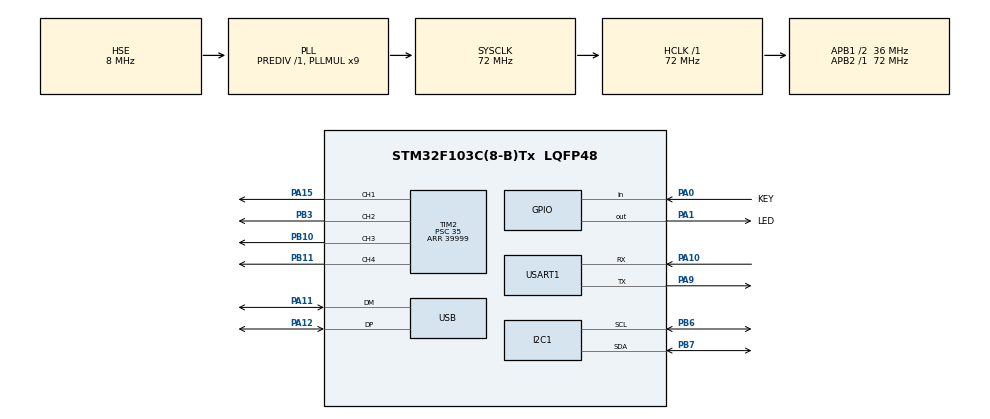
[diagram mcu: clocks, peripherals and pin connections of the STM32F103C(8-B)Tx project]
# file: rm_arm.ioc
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I2C1.I2C_Mode=I2C_Fast
Mcu.Family=STM32F1
Mcu.Name=STM32F103C(8-B)Tx
Mcu.Package=LQFP48
NVIC.PriorityGroup=NVIC_PRIORITYGROUP_4
NVIC.TIM3_IRQn=true\:0\:0\:false\:false\:true\:true\:true\:true
NVIC.USB_LP_CAN1_RX0_IRQn=true\:0\:0\:false\:false\:true\:false\:true\:true
PA0-WKUP.GPIO_Label=KEY
PA0-WKUP.GPIO_PuPd=GPIO_PULLDOWN
PA0-WKUP.Signal=GPIO_Input
PA1.GPIO_Label=LED
PA1.PinState=GPIO_PIN_SET
PA1.Signal=GPIO_Output
PA10.Mode=Asynchronous
PA10.Signal=USART1_RX
PA11.Mode=Device
PA11.Signal=USB_DM
PA12.Mode=Device
PA12.Signal=USB_DP
PA13.Mode=Serial_Wire
PA13.Signal=SYS_JTMS-SWDIO
PA14.Mode=Serial_Wire
PA14.Signal=SYS_JTCK-SWCLK
PA15.Signal=S_TIM2_CH1_ETR
PA9.Mode=Asynchronous
PA9.Signal=USART1_TX
PB10.Signal=S_TIM2_CH3
PB11.Signal=S_TIM2_CH4
PB3.Signal=S_TIM2_CH2
PB6.Mode=I2C
PB6.Signal=I2C1_SCL
PB7.Mode=I2C
PB7.Signal=I2C1_SDA
PD0-OSC_IN.Mode=HSE-External-Oscillator
PD0-OSC_IN.Signal=RCC_OSC_IN
PD1-OSC_OUT.Mode=HSE-External-Oscillator
PD1-OSC_OUT.Signal=RCC_OSC_OUT
ProjectManager.HeapSize=0x200
ProjectManager.StackSize=0x400
ProjectManager.TargetToolchain=CMake
RCC.AHBFreq_Value=72000000
RCC.APB1CLKDivider=RCC_HCLK_DIV2
RCC.APB1Freq_Value=36000000
RCC.APB1TimFreq_Value=72000000
RCC.APB2Freq_Value=72000000
RCC.APB2TimFreq_Value=72000000
RCC.HCLKFreq_Value=72000000
RCC.PLLMUL=RCC_PLL_MUL9
RCC.PLLSourceVirtual=RCC_PLLSOURCE_HSE
RCC.SYSCLKFreq_VALUE=72000000
RCC.SYSCLKSource=RCC_SYSCLKSOURCE_PLLCLK
RCC.USBFreq_Value=48000000
RCC.USBPrescaler=RCC_USBCLKSOURCE_PLL_DIV1_5
SH.S_TIM2_CH1_ETR.0=TIM2_CH1,PWM Generation1 CH1
SH.S_TIM2_CH2.0=TIM2_CH2,PWM Generation2 CH2
SH.S_TIM2_CH3.0=TIM2_CH3,PWM Generation3 CH3
SH.S_TIM2_CH4.0=TIM2_CH4,PWM Generation4 CH4
TIM2.AutoReloadPreload=TIM_AUTORELOAD_PRELOAD_ENABLE
TIM2.Channel-PWM\ Generation1\ CH1=TIM_CHANNEL_1
TIM2.Channel-PWM\ Generation2\ CH2=TIM_CHANNEL_2
TIM2.Channel-PWM\ Generation3\ CH3=TIM_CHANNEL_3
TIM2.Channel-PWM\ Generation4\ CH4=TIM_CHANNEL_4
TIM2.Period=39999
TIM2.Prescaler=35
TIM3.AutoReloadPreload=TIM_AUTORELOAD_PRELOAD_ENABLE
TIM3.Period=999
TIM3.Prescaler=71
USART1.VirtualMode=VM_ASYNC
USB_DEVICE.CLASS_NAME_FS=CDC
USB_DEVICE.VirtualMode=Cdc
USB_DEVICE.VirtualModeFS=Cdc_FS
VP_TIM2_VS_ClockSourceINT.Mode=Internal
VP_TIM3_VS_ClockSourceINT.Mode=Internal
VP_USB_DEVICE_VS_USB_DEVICE_CDC_FS.Mode=CDC_FS
board=custom

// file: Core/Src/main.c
/* USER CODE BEGIN Header */
/**
  ******************************************************************************
  * @file           : main.c
  * @brief          : Main program body
  ******************************************************************************
  * @attention
  *
  * Copyright (c) 2026 STMicroelectronics.
  * All rights reserved.
  *
  * This software is licensed under terms that can be found in the LICENSE file
  * in the root directory of this software component.
  * If no LICENSE file comes with this software, it is provided AS-IS.
  *
  ******************************************************************************
  */
/* USER CODE END Header */
#include "main.h"
#include "usb_device.h"

/* USER CODE BEGIN Includes */
#include <stdio.h>
#include "arm_pwm.h"       /* T1: arm_init() / arm_set_deg() */
#include "arm_joint.h"     /* T2: arm_joint_init() / 关节执行层（底座闭环） */
#include "arm_cfg.h"       /* T1: 标定表 g_arm_joint[] 与时基宏 */
#include "mpu6050.h"       /* T4: MPU6050 姿态传感器（I²C1，400kHz） */
#include "proto_app.h"     /* T5a: proto_app_init() / proto_app_poll() */
/* USER CODE END Includes */

/* USER CODE BEGIN PD */
#define FW_NAME          "rm_arm"
#define FW_VERSION       "0.2.0"

/* 注意：脉宽 / 角度 / 时基这些数字**不在这里**，
 * 按任务书 T1 的要求全部集中在 Core/Inc/arm_cfg.h。 */
#define KEY_DEBOUNCE_MS  20u                       /* 按键消抖时间 */
/* USER CODE END PD */

I2C_HandleTypeDef hi2c1;

TIM_HandleTypeDef htim2;
TIM_HandleTypeDef htim3;

UART_HandleTypeDef huart1;

/* USER CODE BEGIN PV */
/* main.c 刻意**不**声明 hUsbDeviceFS：
 * CDC 端点归协议层独占（proto_link.c），这里连指针都拿不到，
 * 一旦手滑写了 CDC 调用就变成编译错误，而不是运行时的隐性污染。 */
/* USER CODE END PV */

void SystemClock_Config(void);
static void MX_GPIO_Init(void);
static void MX_I2C1_Init(void);
static void MX_TIM2_Init(void);
static void MX_TIM3_Init(void);
static void MX_USART1_UART_Init(void);

/* USER CODE BEGIN 0 */

/* ---------------- 日志输出：**只走 USART1** ----------------
 * ⚠️ 绝对不要把日志写进 USB CDC。
 *
 * 原因：CDC 是给上位机的**协议字节流**，上位机按帧头 0xA5 同步、按长度字段切包。
 * 一旦掺进任何文本：
 *     A5 10 13 84 03 ... 5B 54 31 5D ...     ← "[T1]" 混进帧中间
 *     长度字段声明 19 字节，凑齐后 CRC 必然不符
 *     → 上位机丢 1 字节重新同步 → 帧视图标红 → 丢帧统计暴涨
 *
 * 规则：**一个端点只能有一个主人**。
 *   CDC 端点由协议层独占（proto_link.c），日志只走 USART1 —— 物理上是另一根线，
 *   怎么打都不会碰到协议字节流。
 *
 * 代价：手上没有 USB-TTL 时看不到这些输出。这是有意的取舍：
 *       调试信息看不到可以忍，协议被污染不行。
 */

#define LOG_BUF_SIZE   160u

static char     s_log_buf[LOG_BUF_SIZE];
static uint16_t s_log_len = 0;

static void log_flush(void)
{
  if (s_log_len == 0u)
  {
    return;
  }

  /* 50ms 超时：115200 下一行 100 字节约 8.7ms；没接线也只是空等，不会死锁 */
  (void)HAL_UART_Transmit(&huart1, (uint8_t *)s_log_buf, s_log_len, 50);

  s_log_len = 0u;
}

/* newlib 的 printf 最终会一个字符一个字符调到这里
 * （链路：printf → _write() in syscalls.c → __io_putchar()） */
int __io_putchar(int ch)
{
  if (s_log_len >= (LOG_BUF_SIZE - 1u))
  {
    log_flush();                     /* 缓冲区满，先冲出去 */
  }

  s_log_buf[s_log_len++] = (char)ch;

  if (ch == '\n')
  {
    log_flush();                     /* 一行结束立刻发，保证及时可见 */
  }

  return ch;
}

/* ---------------- 本次复位原因 ---------------- */
static const char *reset_cause_str(void)
{
  if (__HAL_RCC_GET_FLAG(RCC_FLAG_PORRST)  != RESET) return "POR/PDR 上电复位";
  if (__HAL_RCC_GET_FLAG(RCC_FLAG_PINRST)  != RESET) return "NRST 外部复位脚";
  if (__HAL_RCC_GET_FLAG(RCC_FLAG_SFTRST)  != RESET) return "SW 软件复位";
  if (__HAL_RCC_GET_FLAG(RCC_FLAG_IWDGRST) != RESET) return "IWDG 独立看门狗";
  if (__HAL_RCC_GET_FLAG(RCC_FLAG_WWDGRST) != RESET) return "WWDG 窗口看门狗";
  if (__HAL_RCC_GET_FLAG(RCC_FLAG_LPWRRST) != RESET) return "LPWR 低功耗复位";
  return "未识别";
}

/* ---------------- 启动横幅 ----------------
 * 只在 t0_setup() 里调用一次：此时 MX_USART1_UART_Init() 已经跑过，
 * 而 __HAL_RCC_CLEAR_RESET_FLAGS() 还没跑。
 *
 * ⚠️ 两条容易误会的点（改之前先读这里）：
 *   1. 日志**只走 USART1，不走 USB CDC**。理由见文件头 92~96 行：
 *      宁可看不见调试信息，也绝不能让日志字节混进协议字节流。
 *      所以"USB 连上之后补发一遍横幅"这种行为**不存在** ——
 *      插着 USB 线是看不见任何东西的，想看必须接串口（PA9，115200）。
 *   2. 复位源标志只能读一次（读完就在 t0_setup 末尾清掉了），
 *      所以缓存进 s_reset_cause。缓存 + "只在第一次真正读"的写法
 *      让这个函数即使将来被调用两次也不会打出"未识别"。
 */
static const char *s_reset_cause = NULL;

static void print_banner(void)
{
  if (s_reset_cause == NULL)
  {
    s_reset_cause = reset_cause_str();   /* 只在第一次真正读标志位 */
  }

  printf("\r\n==============================\r\n");
  printf(" 工程名 : %s  v%s\r\n", FW_NAME, FW_VERSION);
  printf(" 芯片   : STM32F103C8T6 (64K Flash / 20K RAM)\r\n");
  printf(" SYSCLK : %lu Hz\r\n", (unsigned long)HAL_RCC_GetSysClockFreq());
  printf(" HCLK   : %lu Hz\r\n", (unsigned long)HAL_RCC_GetHCLKFreq());
  printf(" PCLK1  : %lu Hz\r\n", (unsigned long)HAL_RCC_GetPCLK1Freq());
  printf(" PCLK2  : %lu Hz\r\n", (unsigned long)HAL_RCC_GetPCLK2Freq());
  printf(" USB    : 48 MHz\r\n");
  printf(" 复位源 : %s\r\n", s_reset_cause);
  printf(" PWM    : TIM2 4ch @ 50Hz, tick=%u Hz, CCR=%u~%u (中位 %u)\r\n",
         (unsigned)ARM_PWM_TICK_HZ,
         (unsigned)ARM_PWM_US_TO_CCR(SERVO_US_NOMINAL_MIN),
         (unsigned)ARM_PWM_US_TO_CCR(SERVO_US_NOMINAL_MAX),
         (unsigned)ARM_PWM_US_TO_CCR(SERVO_US_HOME));

  /* 把标定表打出来，改完 arm_cfg.c 一眼能确认烧进去的是不是新值 */
  printf(" 关节标定表 (改 Core/Src/arm_cfg.c):\r\n");
  {
    uint8_t j;
    for (j = 0; j < ARM_JOINT_NUM; j++)
    {
      printf("   [%u] %s  %d~%d deg  home %d  %u~%u us\r\n",
             (unsigned)j,
             g_arm_joint[j].name,
             (int)g_arm_joint[j].deg_min,
             (int)g_arm_joint[j].deg_max,
             (int)g_arm_joint[j].deg_home,
             (unsigned)g_arm_joint[j].us_at_deg_min,
             (unsigned)g_arm_joint[j].us_at_deg_max);
    }
  }

  printf("==============================\r\n");
  printf("[T1] 就绪: 四路 PWM 已输出中位；标定见 docs/T1_角度脉宽映射_说明.md\r\n");

  /* T4：上电探测结果。没装也不影响舵机 —— 见 mpu6050.h 里 MPU6050_REQUIRED */
  if (mpu6050_present() != 0u)
  {
    printf("[T4] MPU6050 在线 (WHO_AM_I=0x68, ±2g/±500dps, I2C1 400kHz)\r\n");
  }
  else
  {
    printf("[T4] MPU6050 未检测到（pitch 填 0，其余功能照常；见 docs/T4_MPU6050_说明.md）\r\n");
  }
}

/* ---------------- T0 上电自检 ---------------- */
static void t0_setup(void)
{
  /* LED 先灭（野火板 PA1 = LED_R，低电平点亮） */
  HAL_GPIO_WritePin(LED_GPIO_Port, LED_Pin, GPIO_PIN_SET);

  setvbuf(stdout, NULL, _IONBF, 0);   /* 关掉缓冲，插上串口就能看到 */

  /* 四路 PWM：交给 T1 模块，脉宽/角度参数全在 arm_cfg.h */
  arm_init();

  /* 关节执行层：决定哪个关节走闭环（底座 360°）、哪个直通。
   * 必须在 arm_init() 之后 —— 它内部要往 CCR 写零位脉宽。 */
  arm_joint_init();

  /* T4 姿态传感器：探测 MPU6050（WHO_AM_I=0x68）+ 配量程/滤波/采样率。
   * 此时 MX_I2C1_Init() 已经跑过，I2C1 是 400kHz。
   * 内部有约 110ms 的软复位等待，只在启动时做一次。 */
  (void)mpu6050_init();

  print_banner();

  /* 打印完再清标志，否则下次读到的是被清掉的状态 */
  __HAL_RCC_CLEAR_RESET_FLAGS();
}

/* ---------------- USB 配置完成检测 ----------------
 * 说明：这里**不**碰 CDC。日志只走 USART1（见文件头 log_flush 的注释），
 *       所以不存在"USB 连上后补发横幅"这回事 —— 想看得接 USB-TTL。
 */

/* ---------------- 20ms 消抖按键：返回 1 = 刚按下 ---------------- */
static uint8_t key_scan(void)
{
  static uint8_t  stable   = 0;   /* 稳定态 0=松开 1=按下 */
  static uint8_t  raw_prev = 0;
  static uint32_t t_edge   = 0;

  /* ★ 野火板 KEY1 = PA0，**按下去接的是 3V3**（板上外部下拉，官方 HAL 例程
   *   也是按 `ReadPin() == 1` 判断按下），所以"按下"读到的是 GPIO_PIN_SET。
   *   上一版 Blue Pill 用的是接地微动开关 + 内部上拉，判断条件正好相反
   *   （GPIO_PIN_RESET），迁移时这一行必须跟着翻过来，否则按键逻辑整个反掉。
   *   兜底：KEY 在 CubeMX 里配成 GPIO_PULLDOWN，线没插好时稳定读"松开"。 */
  uint8_t  raw = (HAL_GPIO_ReadPin(KEY_GPIO_Port, KEY_Pin) == GPIO_PIN_SET) ? 1u : 0u;
  uint32_t now = HAL_GetTick();

  if (raw != raw_prev)          /* 电平刚变，重新计时 */
  {
    raw_prev = raw;
    t_edge   = now;
    return 0;
  }

  if ((raw != stable) && ((now - t_edge) >= KEY_DEBOUNCE_MS))
  {
    stable = raw;               /* 稳定了才认 */
    if (stable)
    {
      return 1u;                /* 只在按下沿给一次事件 */
    }
  }
  return 0;
}

/* ---------------- T0 主循环体 ---------------- */
static void t0_loop(void)
{
  static uint8_t led_on = 0;    /* 逻辑亮灭；野火板 PA1=LED_R 低电平点亮 */

  if (key_scan())
  {
    led_on = (uint8_t)!led_on;
    HAL_GPIO_WritePin(LED_GPIO_Port, LED_Pin, led_on ? GPIO_PIN_RESET : GPIO_PIN_SET);
    /* 脚名跟 main.h 的 KEY_GPIO_Port / KEY_Pin 走。
     * 换板改引脚时，这行字符串里的 "PA0" 也要跟着改，不然日志会骗人。 */
    printf("[T0] PA0 按下 -> LED %s\r\n", led_on ? "ON" : "OFF");
  }
}

/* USER CODE END 0 */

int main(void)
{

  /* MCU Configuration--------------------------------------------------------*/

  /* Reset of all peripherals, Initializes the Flash interface and the Systick. */
  HAL_Init();

  /* Configure the system clock */
  SystemClock_Config();

  /* Initialize all configured peripherals */
  MX_GPIO_Init();
  MX_I2C1_Init();
  MX_TIM2_Init();
  MX_TIM3_Init();
  MX_USART1_UART_Init();
  MX_USB_DEVICE_Init();
  /* USER CODE BEGIN 2 */
  t0_setup();
  proto_app_init();          /* T5a: 协议层就绪（先 arm_init 再初始化协议，顺序不能反） */
  /* USER CODE END 2 */

  /* Infinite loop */
  while (1)
  {

    /* USER CODE BEGIN 3 */
    t0_loop();
    proto_app_poll();        /* T5a: 收支协议帧、按 50Hz 上报状态、1Hz 心跳 */
  }
  /* USER CODE END 3 */
}

void SystemClock_Config(void)
{
  RCC_OscInitTypeDef RCC_OscInitStruct = {0};
  RCC_ClkInitTypeDef RCC_ClkInitStruct = {0};
  RCC_PeriphCLKInitTypeDef PeriphClkInit = {0};

  /** Initializes the RCC Oscillators according to the specified parameters
  * in the RCC_OscInitTypeDef structure.
  */
  RCC_OscInitStruct.OscillatorType = RCC_OSCILLATORTYPE_HSE;
  RCC_OscInitStruct.HSEState = RCC_HSE_ON;
  RCC_OscInitStruct.HSEPredivValue = RCC_HSE_PREDIV_DIV1;
  RCC_OscInitStruct.HSIState = RCC_HSI_ON;
  RCC_OscInitStruct.PLL.PLLState = RCC_PLL_ON;
  RCC_OscInitStruct.PLL.PLLSource = RCC_PLLSOURCE_HSE;
  RCC_OscInitStruct.PLL.PLLMUL = RCC_PLL_MUL9;
  if (HAL_RCC_OscConfig(&RCC_OscInitStruct) != HAL_OK)
  {
    Error_Handler();
  }

  /** Initializes the CPU, AHB and APB buses clocks
  */
  RCC_ClkInitStruct.ClockType = RCC_CLOCKTYPE_HCLK|RCC_CLOCKTYPE_SYSCLK
                              |RCC_CLOCKTYPE_PCLK1|RCC_CLOCKTYPE_PCLK2;
  RCC_ClkInitStruct.SYSCLKSource = RCC_SYSCLKSOURCE_PLLCLK;
  RCC_ClkInitStruct.AHBCLKDivider = RCC_SYSCLK_DIV1;
  RCC_ClkInitStruct.APB1CLKDivider = RCC_HCLK_DIV2;
  RCC_ClkInitStruct.APB2CLKDivider = RCC_HCLK_DIV1;

  if (HAL_RCC_ClockConfig(&RCC_ClkInitStruct, FLASH_LATENCY_2) != HAL_OK)
  {
    Error_Handler();
  }
  PeriphClkInit.PeriphClockSelection = RCC_PERIPHCLK_USB;
  PeriphClkInit.UsbClockSelection = RCC_USBCLKSOURCE_PLL_DIV1_5;
  if (HAL_RCCEx_PeriphCLKConfig(&PeriphClkInit) != HAL_OK)
  {
    Error_Handler();
  }
}

static void MX_I2C1_Init(void)
{

  hi2c1.Instance = I2C1;
  hi2c1.Init.ClockSpeed = 400000;
  hi2c1.Init.DutyCycle = I2C_DUTYCYCLE_2;
  hi2c1.Init.OwnAddress1 = 0;
  hi2c1.Init.AddressingMode = I2C_ADDRESSINGMODE_7BIT;
  hi2c1.Init.DualAddressMode = I2C_DUALADDRESS_DISABLE;
  hi2c1.Init.OwnAddress2 = 0;
  hi2c1.Init.GeneralCallMode = I2C_GENERALCALL_DISABLE;
  hi2c1.Init.NoStretchMode = I2C_NOSTRETCH_DISABLE;
  if (HAL_I2C_Init(&hi2c1) != HAL_OK)
  {
    Error_Handler();
  }

}

static void MX_TIM2_Init(void)
{

  /* USER CODE BEGIN TIM2_Init 0 */
  /* ★ 四个通道**全部**必须是 PWM Generation 模式。
   *
   *   2026-11-11 换板那一次，CubeMX 里 TIM2_CH2 被误设成 "Forced Output CH2"，
   *   于是通道 2 不再是 PWM，而是**恒定高电平**：
   *     - PB3（J2 大臂）一直 3.3V，万用表读 3.3V 而不是 0.25V
   *     - CCR 写了也没用（强制输出忽略比较值，J2 完全不听指令）
   *   症状特别像"重映射没生效"，但重映射其实是好的，别去乱改 AFIO。
   *
   *   判据：万用表量 PB3 恒 3.3V（另外三路正常）→ 先回来查这里和 .ioc。
   *   rm_arm.ioc 已同步改回 PWM Generation2，重新 GENERATE CODE 不会复发。 */
  /* USER CODE END TIM2_Init 0 */

  TIM_ClockConfigTypeDef sClockSourceConfig = {0};
  TIM_MasterConfigTypeDef sMasterConfig = {0};
  TIM_OC_InitTypeDef sConfigOC = {0};

  htim2.Instance = TIM2;
  htim2.Init.Prescaler = 35;
  htim2.Init.CounterMode = TIM_COUNTERMODE_UP;
  htim2.Init.Period = 39999;
  htim2.Init.ClockDivision = TIM_CLOCKDIVISION_DIV1;
  htim2.Init.AutoReloadPreload = TIM_AUTORELOAD_PRELOAD_ENABLE;
  if (HAL_TIM_Base_Init(&htim2) != HAL_OK)
  {
    Error_Handler();
  }
  sClockSourceConfig.ClockSource = TIM_CLOCKSOURCE_INTERNAL;
  if (HAL_TIM_ConfigClockSource(&htim2, &sClockSourceConfig) != HAL_OK)
  {
    Error_Handler();
  }
  if (HAL_TIM_PWM_Init(&htim2) != HAL_OK)
  {
    Error_Handler();
  }
  sMasterConfig.MasterOutputTrigger = TIM_TRGO_RESET;
  sMasterConfig.MasterSlaveMode = TIM_MASTERSLAVEMODE_DISABLE;
  if (HAL_TIMEx_MasterConfigSynchronization(&htim2, &sMasterConfig) != HAL_OK)
  {
    Error_Handler();
  }
  sConfigOC.OCMode = TIM_OCMODE_PWM1;
  sConfigOC.Pulse = 0;
  sConfigOC.OCPolarity = TIM_OCPOLARITY_HIGH;
  sConfigOC.OCFastMode = TIM_OCFAST_DISABLE;
  if (HAL_TIM_PWM_ConfigChannel(&htim2, &sConfigOC, TIM_CHANNEL_1) != HAL_OK)
  {
    Error_Handler();
  }
  if (HAL_TIM_PWM_ConfigChannel(&htim2, &sConfigOC, TIM_CHANNEL_2) != HAL_OK)
  {
    Error_Handler();
  }
  if (HAL_TIM_PWM_ConfigChannel(&htim2, &sConfigOC, TIM_CHANNEL_3) != HAL_OK)
  {
    Error_Handler();
  }
  if (HAL_TIM_PWM_ConfigChannel(&htim2, &sConfigOC, TIM_CHANNEL_4) != HAL_OK)
  {
    Error_Handler();
  }
  HAL_TIM_MspPostInit(&htim2);

}

static void MX_TIM3_Init(void)
{

  TIM_ClockConfigTypeDef sClockSourceConfig = {0};
  TIM_MasterConfigTypeDef sMasterConfig = {0};

  htim3.Instance = TIM3;
  htim3.Init.Prescaler = 71;
  htim3.Init.CounterMode = TIM_COUNTERMODE_UP;
  htim3.Init.Period = 999;
  htim3.Init.ClockDivision = TIM_CLOCKDIVISION_DIV1;
  htim3.Init.AutoReloadPreload = TIM_AUTORELOAD_PRELOAD_ENABLE;
  if (HAL_TIM_Base_Init(&htim3) != HAL_OK)
  {
    Error_Handler();
  }
  sClockSourceConfig.ClockSource = TIM_CLOCKSOURCE_INTERNAL;
  if (HAL_TIM_ConfigClockSource(&htim3, &sClockSourceConfig) != HAL_OK)
  {
    Error_Handler();
  }
  sMasterConfig.MasterOutputTrigger = TIM_TRGO_RESET;
  sMasterConfig.MasterSlaveMode = TIM_MASTERSLAVEMODE_DISABLE;
  if (HAL_TIMEx_MasterConfigSynchronization(&htim3, &sMasterConfig) != HAL_OK)
  {
    Error_Handler();
  }

}

static void MX_USART1_UART_Init(void)
{

  huart1.Instance = USART1;
  huart1.Init.BaudRate = 115200;
  huart1.Init.WordLength = UART_WORDLENGTH_8B;
  huart1.Init.StopBits = UART_STOPBITS_1;
  huart1.Init.Parity = UART_PARITY_NONE;
  huart1.Init.Mode = UART_MODE_TX_RX;
  huart1.Init.HwFlowCtl = UART_HWCONTROL_NONE;
  huart1.Init.OverSampling = UART_OVERSAMPLING_16;
  if (HAL_UART_Init(&huart1) != HAL_OK)
  {
    Error_Handler();
  }

}

static void MX_GPIO_Init(void)
{
  GPIO_InitTypeDef GPIO_InitStruct = {0};
/* USER CODE BEGIN MX_GPIO_Init_1 */
  /* ======================================================================
   * ★★★ 换野火 F103C8T6 核心板必看：TIM2 全重映射 + 关 JTAG 留 SWD ★★★
   *
   * 【为什么这两行必须手写】
   *   CubeMX 对 STM32F1 的定时器重映射**只生成引脚 AF 配置**，不生成
   *   AFIO_MAPR 里的重映射位。证据：stm32f1xx_hal_msp.c 的
   *   HAL_TIM_MspPostInit() 已经把 PB3/PB10/PB11/PA15 设成 GPIO_MODE_AF_PP，
   *   但全项目搜不到 REMAP_TIM2。
   *
   *   只配 AF、不改 MAPR 会怎样？信号仍旧从 PA0/PA1/PA2/PA3 出来。
   *   而野火板上那四个脚是 KEY1 按键和 LED_R/G/B —— 结果是四路舵机一动不动，
   *   按一下 KEY1 还等于把 3V3 短接到一个正在输出低电平的 PWM 脚上。
   *
   * 【两行分别做什么】
   *   __HAL_AFIO_REMAP_SWJ_NOJTAG() → SWJ_CFG = 001：关掉 JTAG，保留 SWD。
   *       PA15 出厂是 JTDI、PB3 出厂是 JTDO，不关 JTAG 它们不能当 PWM 用。
   *       SWD 在 PA13/PA14 上，照常下载调试，一点影响都没有。
   *   __HAL_AFIO_REMAP_TIM2_ENABLE() → TIM2_REMAP = 11（全重映射）：
   *       CH1→PA15   CH2→PB3   CH3→PB10   CH4→PB11
   *
   * 【为什么放在这里能行】
   *   AFIO 的 RCC 时钟在 HAL_MspInit() 里已经开了（stm32f1xx_hal_msp.c:73），
   *   而 HAL_Init() 早于 MX_GPIO_Init()，所以这里可以直接写 AFIO->MAPR。
   *
   * 【改动历史】2026-11-11 从 Blue Pill 迁到野火板时加的。
   * ====================================================================== */
  __HAL_AFIO_REMAP_SWJ_NOJTAG();
  __HAL_AFIO_REMAP_TIM2_ENABLE();
/* USER CODE END MX_GPIO_Init_1 */

  /* GPIO Ports Clock Enable */
  __HAL_RCC_GPIOD_CLK_ENABLE();
  __HAL_RCC_GPIOA_CLK_ENABLE();
  __HAL_RCC_GPIOB_CLK_ENABLE();

  /*Configure GPIO pin Output Level */
  HAL_GPIO_WritePin(LED_GPIO_Port, LED_Pin, GPIO_PIN_SET);

  /*Configure GPIO pin : KEY_Pin */
  GPIO_InitStruct.Pin = KEY_Pin;
  GPIO_InitStruct.Mode = GPIO_MODE_INPUT;
  GPIO_InitStruct.Pull = GPIO_PULLDOWN;
  HAL_GPIO_Init(KEY_GPIO_Port, &GPIO_InitStruct);

  /*Configure GPIO pin : LED_Pin */
  GPIO_InitStruct.Pin = LED_Pin;
  GPIO_InitStruct.Mode = GPIO_MODE_OUTPUT_PP;
  GPIO_InitStruct.Pull = GPIO_NOPULL;
  GPIO_InitStruct.Speed = GPIO_SPEED_FREQ_LOW;
  HAL_GPIO_Init(LED_GPIO_Port, &GPIO_InitStruct);

}

void Error_Handler(void)
{
  __disable_irq();
  while (1)
  {
  }
}
